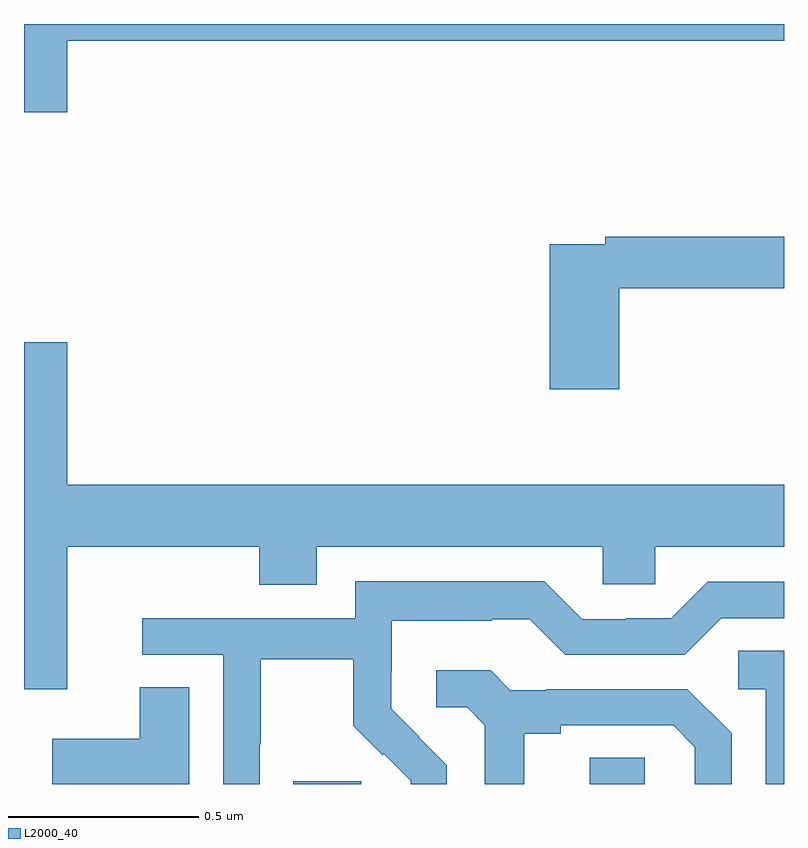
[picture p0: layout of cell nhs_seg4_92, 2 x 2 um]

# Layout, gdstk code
import gdstk
lib = gdstk.Library(unit=1e-6, precision=1e-09)
def R(c, l, rs):  # rectangles x0, y0, x1, y1
    for r in rs: c.add(gdstk.rectangle(r[:2], r[2:], *l))
def P(c, l, *ps):  # polygons
    for p in ps: c.add(gdstk.Polygon(p, *l))
L2000_40 = (2000, 40)

nhs_seg4_92 = lib.new_cell('nhs_seg4_92')
R(nhs_seg4_92, L2000_40, [(112.709,758.9,112.888,758.907), (113.489,758.9,113.634,758.969)])
P(nhs_seg4_92, L2000_40, [(112.114,760.856),(114,760.856),(114,760.9),(112,760.9),(112,760.668),(112.114,760.668)],
  [(113.567,760.204),(114,760.204),(114,760.34),(113.53,760.34),(113.53,760.32),(113.384,760.32),(113.384,759.939),(113.567,759.939)],
  [(112.114,759.524),(112.619,759.524),(112.619,759.425),(112.771,759.425),(112.771,759.524),(113.523,759.524),(113.523,759.426),(113.661,759.426),(113.661,759.524),(114,759.524),(114,759.688),(112.114,759.688),(112.114,760.063),(112,760.063),(112,759.15),(112.114,759.15)],
  [(112.62,759.004),(112.623,759.004),(112.623,759.228),(112.867,759.228),(112.867,759.053),(112.944,758.976),(112.947,758.979),(113.018,758.909),(113.018,758.9),(113.112,758.9),(113.112,758.95),(113.039,759.023),(113.04,759.024),(112.966,759.098),(112.966,759.195),(112.968,759.195),(112.968,759.329),(113.231,759.329),(113.231,759.333),(113.331,759.333),(113.424,759.24),(113.739,759.24),(113.835,759.336),(114,759.336),(114,759.432),(113.799,759.432),(113.703,759.336),(113.585,759.336),(113.585,759.333),(113.469,759.333),(113.369,759.433),(112.872,759.433),(112.872,759.336),(112.311,759.336),(112.311,759.24),(112.524,759.24),(112.524,758.9),(112.62,758.9)],
  [(114,759.251),(113.88,759.251),(113.88,759.15),(113.952,759.15),(113.952,758.9),(114,758.9)],
  [(113.317,759.032),(113.413,759.032),(113.413,759.054),(113.708,759.054),(113.765,758.997),(113.765,758.9),(113.862,758.9),(113.862,759.034),(113.746,759.15),(113.374,759.15),(113.374,759.147),(113.28,759.147),(113.228,759.199),(113.085,759.199),(113.085,759.102),(113.166,759.102),(113.213,759.055),(113.213,758.9),(113.317,758.9)],
  [(112.435,759.155),(112.304,759.155),(112.304,759.019),(112.074,759.019),(112.074,758.9),(112.435,758.9)])

lib.write_gds('nhs_seg4_92.gds')
